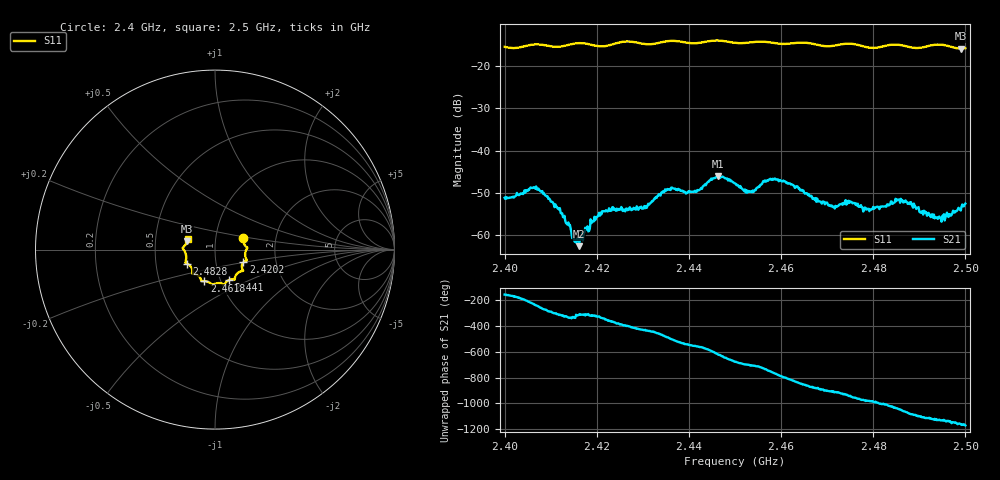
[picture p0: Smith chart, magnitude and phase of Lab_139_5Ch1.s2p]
# Hz S RI R 50
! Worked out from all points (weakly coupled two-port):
!   601 points, 2.4 GHz to 2.5 GHz, reference 50 ohm
!   highest |S21| = -46.09 dB at 2.4463 GHz (marker M1); lowest = -62.6 dB at 2.4162 GHz (marker M2)
!   lowest |S11| = -15.8 dB at 2.499 GHz (marker M3), VSWR 1.39, Z = 36.5 + j3.48 ohm
!   |S11| at or under -10 dB: start of sweep to end of sweep
!   S12 and S22 are empty: the file has one direction only
!   S11 on the Smith chart (normalised r, x): 2.4 GHz: 1.36, +0.18; 2.4202 GHz: 1.36, -0.20; 2.441 GHz: 1.10, -0.39; 2.4618 GHz: 0.84, -0.30; 2.4828 GHz: 0.72, -0.12; 2.5 GHz: 0.73, +0.09
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2.4e9  0.1575 0.063  -0.00256 -0.00104  0 0  0 0
2.407333e9  0.1808 0.00951  -0.00124 0.00334  0 0  0 0
2.416167e9  0.1781 -0.0593  0.000511 0.000536  0 0  0 0
2.416667e9  0.1777 -0.0601  0.000664 0.000693  0 0  0 0
2.420167e9  0.1582 -0.0705  0.00142 0.000864  0 0  0 0
2.430333e9  0.1333 -0.1259  0.000634 -0.00212  0 0  0 0
2.433333e9  0.1121 -0.151  -0.000374 -0.0029  0 0  0 0
2.436167e9  0.1096 -0.1667  -0.0029 -0.00223  0 0  0 0
2.441e9  0.0785 -0.1695  -0.00315 0.000797  0 0  0 0
2.446333e9  0.0502 -0.1953  -0.000707 0.00491  0 0  0 0
2.45e9  0.0284 -0.1869  0.00308 0.00271  0 0  0 0
2.453167e9  -0.00181 -0.1913  0.00312 0.000921  0 0  0 0
2.457667e9  -0.0226 -0.1899  0.00395 -0.00247  0 0  0 0
2.461833e9  -0.0592 -0.1758  -0.000259 -0.00409  0 0  0 0
2.466667e9  -0.0779 -0.1682  -0.00261 -0.00123  0 0  0 0
2.471667e9  -0.1105 -0.1368  -0.00203 0.000391  0 0  0 0
2.482833e9  -0.1575 -0.0775  0.000678 0.00206  0 0  0 0
2.483333e9  -0.1606 -0.0761  0.00108 0.00197  0 0  0 0
2.4865e9  -0.1635 -0.0643  0.00228 0.000864  0 0  0 0
2.494333e9  -0.1804 0.00919  0.00118 -0.00117  0 0  0 0
2.499e9  -0.1547 0.0465  0.000359 -0.00192  0 0  0 0
2.5e9  -0.1518 0.0609  -3.63e-06 -0.00236  0 0  0 0
